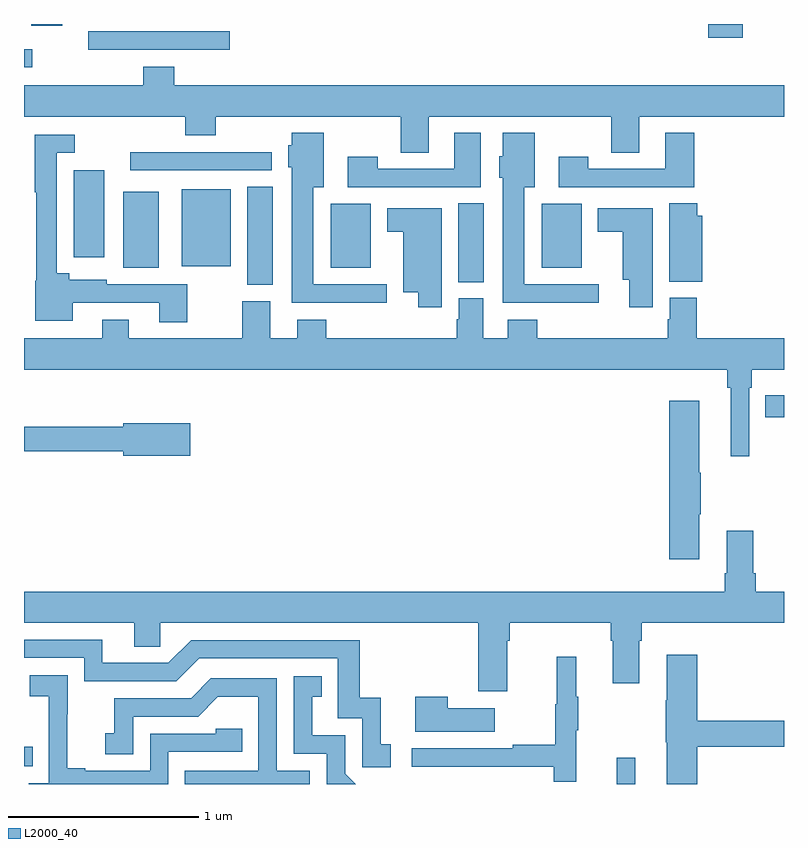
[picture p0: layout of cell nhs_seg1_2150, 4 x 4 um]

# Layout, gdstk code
import gdstk
lib = gdstk.Library(unit=1e-6, precision=1e-09)
def R(c, l, rs):  # rectangles x0, y0, x1, y1
    for r in rs: c.add(gdstk.rectangle(r[:2], r[2:], *l))
def P(c, l, *ps):  # polygons
    for p in ps: c.add(gdstk.Polygon(p, *l))
L2000_40 = (2000, 40)

nhs_seg1_2150 = lib.new_cell('nhs_seg1_2150')
R(nhs_seg1_2150, L2000_40, [(230.121,568.199,230.218,568.336), (227,568.293,227.045,568.394), (230.902,570.13,231,570.246), (228.176,570.827,228.31,571.343), (229.286,570.841,229.42,571.256), (227.522,570.917,227.71,571.315), (228.614,570.917,228.826,571.252), (229.724,570.917,229.936,571.252), (227.831,570.923,228.088,571.33), (227.261,570.972,227.422,571.429), (227.559,571.428,228.304,571.524), (227,571.971,227.044,572.067), (227.337,572.064,228.082,572.16), (230.6,572.127,230.783,572.199), (227.039,572.19,227.2,572.199)])
P(nhs_seg1_2150, L2000_40, [(229.129,571.712),(230.092,571.712),(230.092,571.522),(230.239,571.522),(230.239,571.712),(231,571.712),(231,571.876),(227.792,571.876),(227.792,571.975),(227.627,571.975),(227.627,571.876),(227,571.876),(227,571.712),(227.849,571.712),(227.849,571.613),(228.009,571.613),(228.009,571.712),(228.982,571.712),(228.982,571.522),(229.129,571.522)],
  [(229.405,571.627),(229.265,571.627),(229.265,571.437),(228.861,571.437),(228.861,571.501),(228.705,571.501),(228.705,571.341),(229.405,571.341)],
  [(230.528,571.627),(230.375,571.627),(230.375,571.437),(229.971,571.437),(229.971,571.501),(229.815,571.501),(229.815,571.341),(230.528,571.341)],
  [(228.91,570.828),(228.523,570.828),(228.523,571.34),(228.577,571.34),(228.577,571.627),(228.41,571.627),(228.41,571.56),(228.392,571.56),(228.392,571.446),(228.41,571.446),(228.41,570.731),(228.91,570.731)],
  [(230.026,570.828),(229.633,570.828),(229.633,571.34),(229.687,571.34),(229.687,571.627),(229.52,571.627),(229.52,571.503),(229.502,571.503),(229.502,571.389),(229.52,571.389),(229.52,570.731),(230.026,570.731)],
  [(227.859,570.828),(227.436,570.828),(227.436,570.853),(227.238,570.853),(227.238,570.887),(227.172,570.887),(227.172,571.521),(227.266,571.521),(227.266,571.617),(227.056,571.617),(227.056,571.314),(227.064,571.314),(227.064,570.849),(227.06,570.849),(227.06,570.638),(227.257,570.638),(227.257,570.732),(227.711,570.732),(227.711,570.63),(227.859,570.63)],
  [(230.569,571.189),(230.543,571.189),(230.543,571.256),(230.396,571.256),(230.396,570.842),(230.569,570.842)],
  [(230.308,571.228),(230.021,571.228),(230.021,571.106),(230.15,571.106),(230.15,570.854),(230.186,570.854),(230.186,570.708),(230.308,570.708)],
  [(229.198,571.228),(228.911,571.228),(228.911,571.106),(228.995,571.106),(228.995,570.788),(229.076,570.788),(229.076,570.708),(229.198,570.708)],
  [(230.817,570.284),(230.831,570.284),(230.831,570.38),(231,570.38),(231,570.544),(230.54,570.544),(230.54,570.757),(230.399,570.757),(230.399,570.645),(230.387,570.645),(230.387,570.544),(229.7,570.544),(229.7,570.643),(229.547,570.643),(229.547,570.544),(229.417,570.544),(229.417,570.756),(229.289,570.756),(229.289,570.645),(229.277,570.645),(229.277,570.544),(228.59,570.544),(228.59,570.643),(228.437,570.643),(228.437,570.544),(228.295,570.544),(228.295,570.739),(228.148,570.739),(228.148,570.544),(227.551,570.544),(227.551,570.643),(227.411,570.643),(227.411,570.544),(227,570.544),(227,570.38),(230.701,570.38),(230.701,570.284),(230.72,570.284),(230.72,569.925),(230.817,569.925)],
  [(230.554,569.62),(230.562,569.62),(230.562,569.837),(230.554,569.837),(230.554,570.217),(230.396,570.217),(230.396,569.382),(230.554,569.382)],
  [(227.875,570.097),(227.522,570.097),(227.522,570.079),(227,570.079),(227,569.95),(227.522,569.95),(227.522,569.927),(227.875,569.927)],
  [(229.543,568.952),(229.556,568.952),(229.556,569.048),(230.087,569.048),(230.087,568.952),(230.099,568.952),(230.099,568.728),(230.239,568.728),(230.239,568.952),(230.252,568.952),(230.252,569.048),(231,569.048),(231,569.212),(230.852,569.212),(230.852,569.308),(230.839,569.308),(230.839,569.533),(230.699,569.533),(230.699,569.308),(230.687,569.308),(230.687,569.212),(227,569.212),(227,569.048),(227.579,569.048),(227.579,568.921),(227.718,568.921),(227.718,569.048),(229.391,569.048),(229.391,568.686),(229.543,568.686)],
  [(228.931,568.407),(228.878,568.407),(228.878,568.654),(228.767,568.654),(228.767,568.956),(227.88,568.956),(227.76,568.836),(227.413,568.836),(227.413,568.959),(227,568.959),(227,568.863),(227.316,568.863),(227.316,568.74),(227.802,568.74),(227.922,568.86),(228.651,568.86),(228.651,568.545),(228.78,568.545),(228.78,568.287),(228.931,568.287)],
  [(230.543,568.396),(231,568.396),(231,568.532),(230.543,568.532),(230.543,568.879),(230.384,568.879),(230.384,568.64),(230.377,568.64),(230.377,568.419),(230.384,568.419),(230.384,568.199),(230.543,568.199)],
  [(229.907,568.483),(229.918,568.483),(229.918,568.657),(229.907,568.657),(229.907,568.87),(229.804,568.87),(229.804,568.62),(229.797,568.62),(229.797,568.406),(229.573,568.406),(229.573,568.386),(229.041,568.386),(229.041,568.29),(229.789,568.29),(229.789,568.212),(229.907,568.212)],
  [(227.76,568.368),(228.149,568.368),(228.149,568.491),(228.009,568.491),(228.009,568.464),(227.664,568.464),(227.664,568.269),(227.323,568.269),(227.323,568.282),(227.228,568.282),(227.228,568.565),(227.229,568.565),(227.229,568.771),(227.031,568.771),(227.031,568.661),(227.129,568.661),(227.129,568.433),(227.13,568.433),(227.13,568.203),(227.025,568.203),(227.025,568.199),(227.76,568.199)],
  [(228.69,568.254),(228.69,568.455),(228.517,568.455),(228.517,568.659),(228.566,568.659),(228.566,568.765),(228.42,568.765),(228.42,568.359),(228.594,568.359),(228.594,568.199),(228.745,568.199)],
  [(228.504,568.269),(228.33,568.269),(228.33,568.755),(227.984,568.755),(227.879,568.65),(227.476,568.65),(227.476,568.465),(227.427,568.465),(227.427,568.356),(227.574,568.356),(227.574,568.554),(227.916,568.554),(228.02,568.658),(228.234,568.658),(228.234,568.269),(227.845,568.269),(227.845,568.199),(228.504,568.199)],
  [(229.477,568.597),(229.229,568.597),(229.229,568.657),(229.058,568.657),(229.058,568.475),(229.477,568.475)])

lib.write_gds('nhs_seg1_2150.gds')
